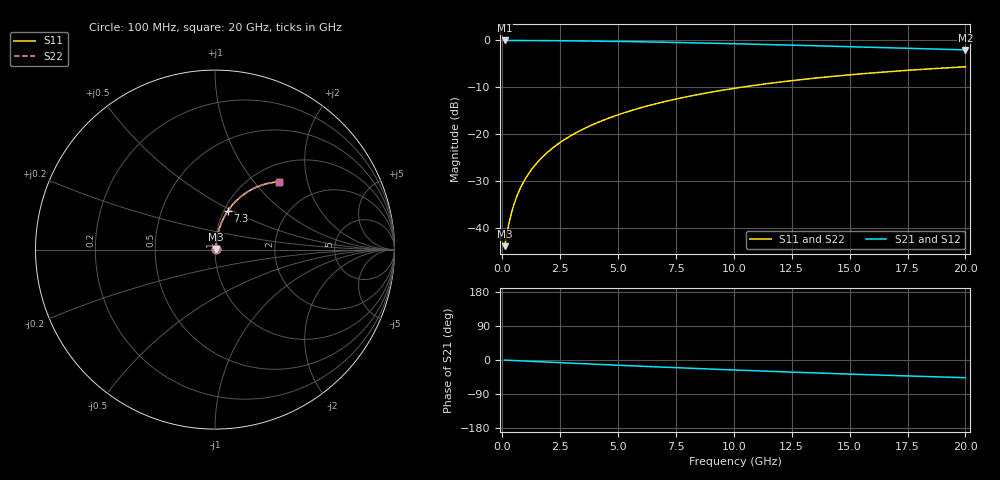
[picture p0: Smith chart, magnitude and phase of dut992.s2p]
! Touchstone file exported from HFSS 2024.1.0
!  File:  C:/UserFiles/LocalFiles/RDL_TSV_Batchsim/temp_RDL_top_992_1779939658.aedt
!  Generated:  11:43:32 AM May 28, 2026
!  Design:  RDL_top
!  Project:  temp_RDL_top_992_1779939658
!  Setup:  Setup1
!  Solution:  Sweep
! Variables:
!  dtsv = 10.80580581um
!  hbump = 3um
!  htsv = 67.48um
!  ldown = 100um
!  lrdl = 589.17um
!  p = 40
!  p1 = 53.81um
!  rhole = 1um
!  t = 450um
!  tdown = 3.915915916um
!  trdl = 3.17um
!  wdown = 15.38538539um
!  wrdl = 12.41um
# GHz S MA R 50.000000
! Terminal data exported
! Port[1] = Box2_T1
! Port[2] = Box2_T2
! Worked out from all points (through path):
!   200 points, 100 MHz to 20 GHz, reference 50 ohm
!   highest |S21| = -0.05 dB at 100 MHz (marker M1); lowest = -2.1 dB at 20 GHz (marker M2)
!   group delay of S21, straight-line fit = 6.49 ps
!   lowest |S11| = -44.0 dB at 100 MHz (marker M3), VSWR 1.01, Z = 50.5 + j0.338 ohm
!   |S11| at or under -10 dB: start of sweep to 10.38 GHz
!   |S22| runs from -44.0 to -5.7 dB; largest |S21 - S12| = 3.6e-15
!   S11 on the Smith chart (normalised r, x): 100 MHz: 1.01, +0.01; 7.3 GHz: 1.04, +0.48; 20 GHz: 1.31, +1.36
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0.1  0.006327 31.9  0.9946 -0.3  0.9946 -0.3  0.006327 31.9
! Gamma 0 0 0 0
! Port Impedance 50 0 50 0
0.2  0.008628 50.7  0.9945 -0.6  0.9945 -0.6  0.008628 50.7
0.3  0.01145 60.7  0.9944 -0.9  0.9944 -0.9  0.01145 60.7
0.4  0.01446 66.4  0.9943 -1.2  0.9943 -1.2  0.01446 66.4
0.5  0.01756 70.0  0.9941 -1.4  0.9941 -1.4  0.01756 70.0
0.6  0.02068 72.5  0.9939 -1.7  0.9939 -1.7  0.02068 72.5
0.8  0.02697 75.5  0.9935 -2.3  0.9935 -2.3  0.02697 75.5
1.1  0.03646 77.9  0.9928 -3.1  0.9928 -3.1  0.03646 77.9
1.5  0.04916 79.4  0.9917 -4.2  0.9917 -4.2  0.04916 79.4
1.8  0.05871 79.8  0.9907 -5.1  0.9907 -5.1  0.05871 79.8
2.1  0.06827 79.9  0.9896 -5.9  0.9896 -5.9  0.06827 79.9
2.7  0.08739 79.7  0.9869 -7.6  0.9869 -7.6  0.08739 79.7
3.5  0.1128 78.7  0.9824 -9.8  0.9824 -9.8  0.1128 78.7
4.2  0.1349 77.6  0.9777 -11.7  0.9777 -11.7  0.1349 77.6
5  0.1599 76.2  0.9715 -13.8  0.9715 -13.8  0.1599 76.2
6.8  0.2148 72.5  0.9547 -18.5  0.9547 -18.5  0.2149 72.5
7.3  0.2297 71.5  0.9495 -19.8  0.9495 -19.8  0.2297 71.5
8.6  0.2674 68.7  0.935 -23.0  0.935 -23.0  0.2674 68.7
10.1  0.3088 65.5  0.917 -26.6  0.917 -26.6  0.3088 65.5
13.4  0.3915 58.7  0.8747 -33.9  0.8747 -33.9  0.3916 58.7
16.7  0.4619 52.3  0.8312 -40.6  0.8312 -40.6  0.462 52.3
20  0.5205 46.5  0.7891 -46.7  0.7891 -46.7  0.5206 46.5
